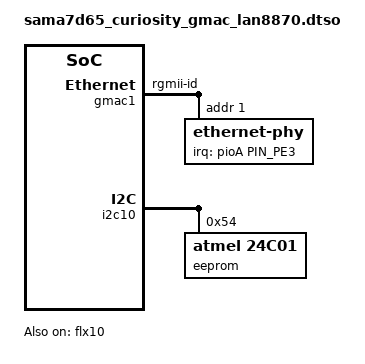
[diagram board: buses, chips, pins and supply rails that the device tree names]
// SPDX-License-Identifier: (GPL-2.0+ OR MIT)
/*
 *  Device Tree overlay for SAMA7D65-CURIOSITY board
 *  in order to use single-port Gigabit PHY EDS2 daughter card.
 *
 *  This is an SPE (Single-Pair Ethernet) PHY.
 *  This PHY currently responds to PHY Address 1
 *
 *  Copyright (c) 2025 Microchip Technology Inc. and its subsidiaries
 *
 *  Author: Jerry Ray <jerry.ray@microchip.com>
 *
 */
/dts-v1/;
/plugin/;
#include "sama7d65-pinfunc.h"
#include <dt-bindings/mfd/atmel-flexcom.h>
#include <dt-bindings/clock/at91.h>
#include <dt-bindings/pinctrl/at91.h>
#include <dt-bindings/gpio/gpio.h>
#include <dt-bindings/interrupt-controller/irq.h>

&{/}
{
	model = "Microchip SAMA7D65 Curiosity LAN8870";
};

&flx10 {
	atmel,flexcom-mode = <ATMEL_FLEXCOM_MODE_TWI>;
	status = "okay";
};

&gmac1 {
	#address-cells = <1>;
	#size-cells = <0>;
	phy-mode = "rgmii-id";
	asym-pause;
	status = "okay";

	ethernet-phy@1 {
		reg = <1>;
		interrupt-parent = <&pioA>;
		interrupts = <PIN_PE3 IRQ_TYPE_LEVEL_LOW>;
		phy-mode = "rgmii-id";
		status = "okay";
	};
};

&i2c10 {
	#address-cells = <1>;
	#size-cells = <0>;
	dmas = <0>, <0>;
	status = "okay";

	eeprom@54 {
		compatible = "atmel,24c01";
		reg = <0x54>;
		pagesize = <8>;
		status = "okay";
	};
};
